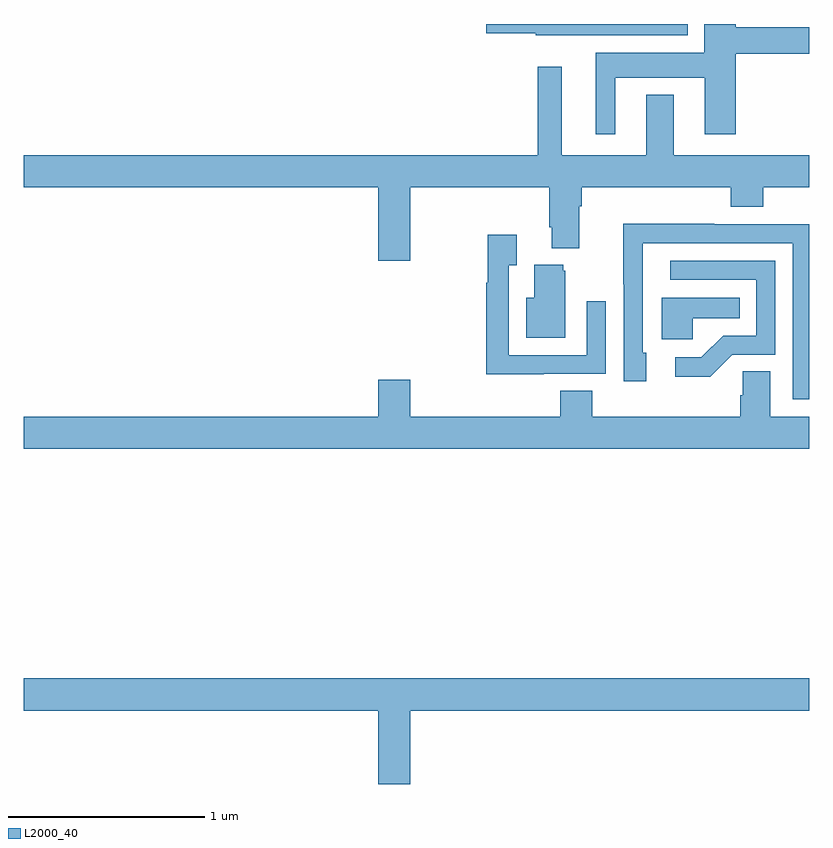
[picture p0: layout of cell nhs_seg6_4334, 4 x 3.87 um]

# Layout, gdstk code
import gdstk
lib = gdstk.Library(unit=1e-6, precision=1e-09)
def P(c, l, *ps):  # polygons
    for p in ps: c.add(gdstk.Polygon(p, *l))
L2000_40 = (2000, 40)

nhs_seg6_4334 = lib.new_cell('nhs_seg6_4334')
P(nhs_seg6_4334, L2000_40, [(370.012,949.226),(370.469,949.226),(370.469,948.939),(370.625,948.939),(370.625,949.348),(371,949.348),(371,949.484),(370.625,949.484),(370.625,949.5),(370.466,949.5),(370.466,949.354),(369.914,949.354),(369.914,948.939),(370.012,948.939)],
  [(369.825,949.443),(370.381,949.443),(370.381,949.5),(369.354,949.5),(369.354,949.454),(369.606,949.454),(369.606,949.442),(369.825,949.442)],
  [(368.968,948.668),(369.677,948.668),(369.677,948.466),(369.689,948.466),(369.689,948.359),(369.829,948.359),(369.829,948.572),(369.842,948.572),(369.842,948.668),(370.601,948.668),(370.601,948.569),(370.766,948.569),(370.766,948.668),(371,948.668),(371,948.832),(370.309,948.832),(370.309,949.141),(370.169,949.141),(370.169,948.832),(369.739,948.832),(369.739,949.282),(369.618,949.282),(369.618,948.832),(367,948.832),(367,948.668),(368.804,948.668),(368.804,948.294),(368.968,948.294)],
  [(371,948.48),(370.517,948.48),(370.517,948.482),(370.054,948.482),(370.054,948.175),(370.056,948.175),(370.056,947.682),(370.171,947.682),(370.171,947.826),(370.152,947.826),(370.152,948.13),(370.153,948.13),(370.153,948.384),(370.917,948.384),(370.917,947.589),(371,947.589)],
  [(369.647,947.718),(369.963,947.718),(369.963,948.088),(369.867,948.088),(369.867,947.814),(369.471,947.814),(369.471,948.271),(369.511,948.271),(369.511,948.427),(369.363,948.427),(369.363,948.182),(369.355,948.182),(369.355,947.717),(369.647,947.717)],
  [(370.608,947.817),(370.827,947.817),(370.827,948.294),(370.293,948.294),(370.293,948.198),(370.731,948.198),(370.731,947.913),(370.562,947.913),(370.451,947.802),(370.317,947.802),(370.317,947.705),(370.495,947.705)],
  [(369.757,948.243),(369.746,948.243),(369.746,948.274),(369.599,948.274),(369.599,948.106),(369.56,948.106),(369.56,947.903),(369.757,947.903)],
  [(370.407,948.002),(370.646,948.002),(370.646,948.106),(370.25,948.106),(370.25,947.894),(370.407,947.894)],
  [(371,947.5),(370.801,947.5),(370.801,947.732),(370.662,947.732),(370.662,947.609),(370.649,947.609),(370.649,947.5),(369.896,947.5),(369.896,947.633),(369.731,947.633),(369.731,947.5),(368.968,947.5),(368.968,947.689),(368.804,947.689),(368.804,947.5),(367,947.5),(367,947.336),(371,947.336)],
  [(367,946.004),(368.804,946.004),(368.804,945.63),(368.968,945.63),(368.968,946.004),(371,946.004),(371,946.168),(367,946.168)])

lib.write_gds('nhs_seg6_4334.gds')
